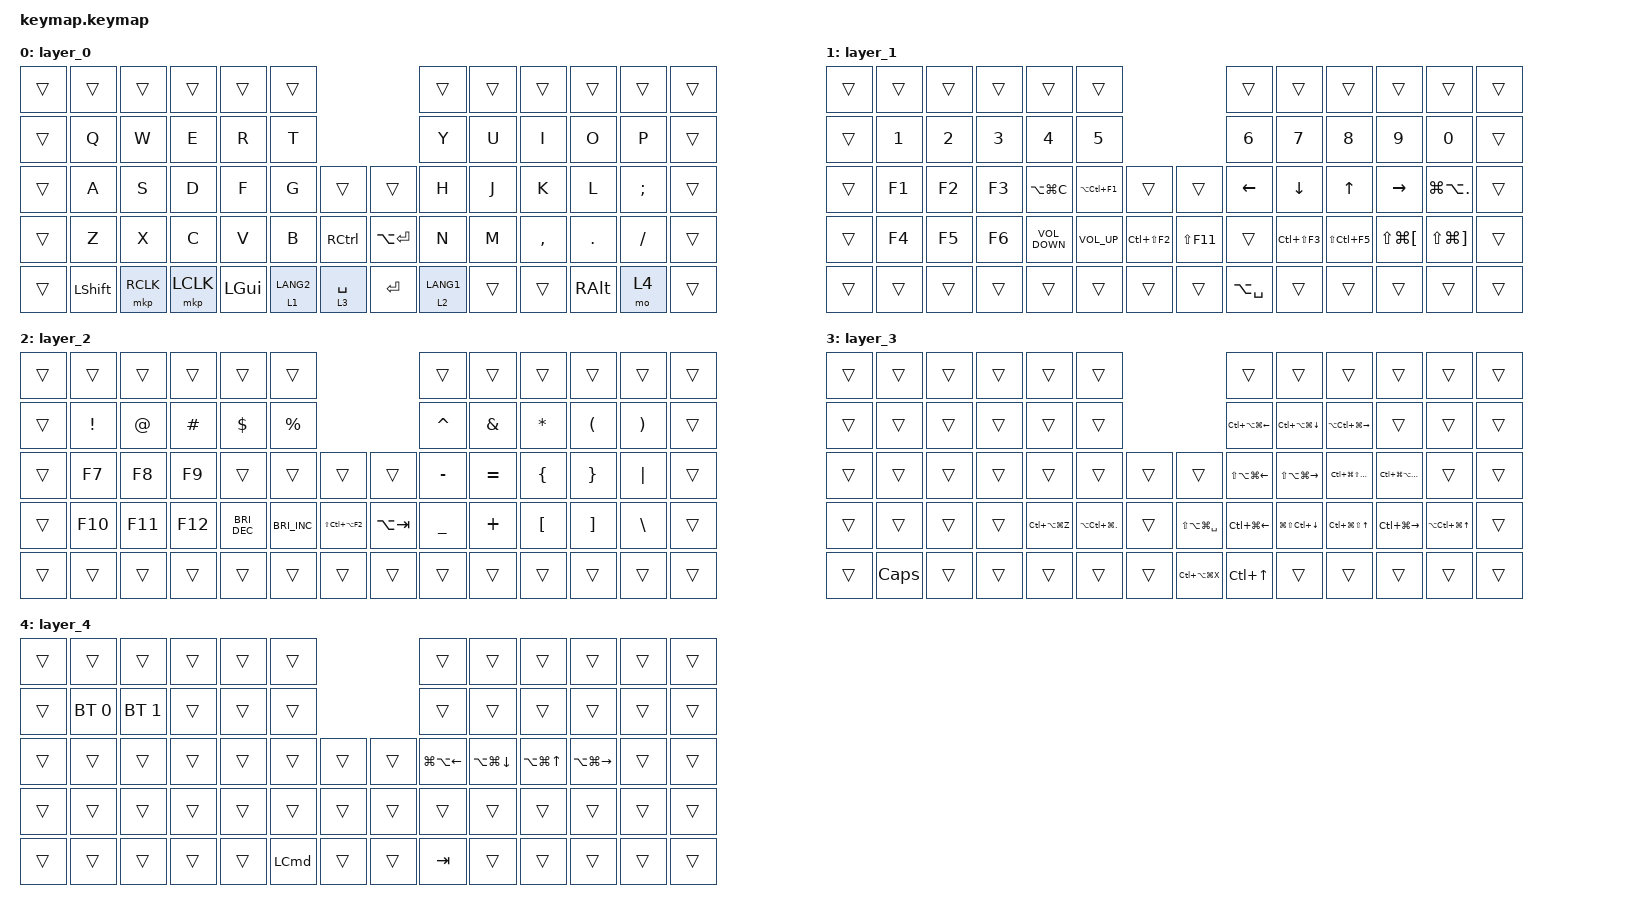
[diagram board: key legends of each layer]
#include <behaviors.dtsi>
#include <dt-bindings/zmk/bt.h>
#include <dt-bindings/zmk/keys.h>
#include <dt-bindings/zmk/pointing.h>

/ {
    combos {
        compatible = "zmk,combos";

        singleQu {
            bindings = <&kp APOSTROPHE>;
            key-positions = <36 35>;
            timeout-ms = <800>;
            layers = <0>;
        };

        backQu {
            bindings = <&kp GRAVE>;
            key-positions = <36 35>;
            timeout-ms = <800>;
            layers = <2>;
        };

        windowMax {
            bindings = <&kp LC(LG(UP_ARROW))>;
            key-positions = <50 49>;
            timeout-ms = <800>;
            layers = <3>;
        };

        backDel {
            bindings = <&kp BACKSPACE>;
            key-positions = <22 21>;
            timeout-ms = <800>;
            layers = <0 1 3>;
        };

        del {
            bindings = <&kp DEL>;
            key-positions = <22 21>;
            timeout-ms = <800>;
            layers = <2>;
        };

        tab {
            bindings = <&kp TAB>;
            key-positions = <13 14>;
            timeout-ms = <800>;
            layers = <0 2 3>;
        };

        esc {
            bindings = <&kp ESC>;
            key-positions = <13 14>;
            layers = <1>;
        };

        tidle {
            bindings = <&kp TILDE>;
            key-positions = <50 49>;
            timeout-ms = <800>;
            layers = <2>;
        };

        f12 {
            bindings = <&kp F12>;
            key-positions = <49 50>;
            timeout-ms = <800>;
            layers = <1>;
        };
    };

    macros {
        change_mac_layer: change_mac_layer {
            compatible = "zmk,behavior-macro";
            #binding-cells = <0>;
            bindings = <&bt BT_SEL 0 &to 0>;
            label = "CHANGE_MAC_LAYER";
        };

        change_brandear_layer: change_brandear_layer {
            compatible = "zmk,behavior-macro";
            #binding-cells = <0>;
            bindings = <&bt BT_SEL 1 &to 0>;
            label = "CHANGE_BRANDEAR_LAYER";
        };
    };

    keymap {
        compatible = "zmk,keymap";

        layer_0 {
            bindings = <
&trans  &trans          &trans     &trans     &trans        &trans                                         &trans       &trans  &trans     &trans         &trans         &trans
&trans  &kp Q           &kp W      &kp E      &kp R         &kp T                                          &kp Y        &kp U   &kp I      &kp O          &kp P          &trans
&trans  &kp A           &kp S      &kp D      &kp F         &kp G        &trans             &trans         &kp H        &kp J   &kp K      &kp L          &kp SEMICOLON  &trans
&trans  &kp Z           &kp X      &kp C      &kp V         &kp B        &kp RIGHT_CONTROL  &kp LA(ENTER)  &kp N        &kp M   &kp COMMA  &kp PERIOD     &kp SLASH      &trans
&trans  &kp LEFT_SHIFT  &mkp RCLK  &mkp LCLK  &kp LEFT_GUI  &lt 1 LANG2  &lt 3 SPACE        &kp ENTER      &lt 2 LANG1  &trans  &trans     &kp RIGHT_ALT  &mo 4          &trans
            >;
        };

        layer_1 {
            bindings = <
&trans  &trans  &trans  &trans  &trans             &trans                                       &trans          &trans          &trans          &trans                    &trans                     &trans
&trans  &kp N1  &kp N2  &kp N3  &kp N4             &kp N5                                       &kp N6          &kp N7          &kp N8          &kp N9                    &kp N0                     &trans
&trans  &kp F1  &kp F2  &kp F3  &kp LA(LG(C))      &kp LA(LC(F1))  &trans          &trans       &kp LEFT_ARROW  &kp DOWN_ARROW  &kp UP_ARROW    &kp RIGHT_ARROW           &kp LG(LA(PERIOD))         &trans
&trans  &kp F4  &kp F5  &kp F6  &kp C_VOLUME_DOWN  &kp C_VOL_UP    &kp LC(LS(F2))  &kp LS(F11)  &trans          &kp LC(LS(F3))  &kp LS(LC(F5))  &kp LS(LG(LEFT_BRACKET))  &kp LS(LG(RIGHT_BRACKET))  &trans
&trans  &trans  &trans  &trans  &trans             &trans          &trans          &trans       &kp LA(SPACE)   &trans          &trans          &trans                    &trans                     &trans
            >;
        };

        layer_2 {
            bindings = <
&trans  &trans           &trans       &trans     &trans                &trans                                                 &trans     &trans         &trans            &trans                &trans                 &trans
&trans  &kp EXCLAMATION  &kp AT_SIGN  &kp POUND  &kp DOLLAR            &kp PERCENT                                            &kp CARET  &kp AMPERSAND  &kp ASTRK         &kp LEFT_PARENTHESIS  &kp RIGHT_PARENTHESIS  &trans
&trans  &kp F7           &kp F8       &kp F9     &trans                &trans                &trans              &trans       &kp MINUS  &kp EQUAL      &kp LEFT_BRACE    &kp RIGHT_BRACE       &kp PIPE               &trans
&trans  &kp F10          &kp F11      &kp F12    &kp C_BRIGHTNESS_DEC  &kp C_BRIGHTNESS_INC  &kp LS(LC(LA(F2)))  &kp LA(TAB)  &kp UNDER  &kp PLUS       &kp LEFT_BRACKET  &kp RIGHT_BRACKET     &kp BACKSLASH          &trans
&trans  &trans           &trans       &trans     &trans                &trans                &trans              &trans       &trans     &trans         &trans            &trans                &trans                 &trans
            >;
        };

        layer_3 {
            bindings = <
&trans  &trans    &trans  &trans  &trans             &trans                                                 &trans                      &trans                       &trans                          &trans                           &trans                    &trans
&trans  &trans    &trans  &trans  &trans             &trans                                                 &kp LC(LA(LG(LEFT_ARROW)))  &kp LC(LA(LG(DOWN_ARROW)))   &kp LA(LC(LG(RIGHT_ARROW)))     &trans                           &trans                    &trans
&trans  &trans    &trans  &trans  &trans             &trans                  &trans  &trans                 &kp LS(LA(LG(LEFT)))        &kp LS(LA(LG(RIGHT_ARROW)))  &kp LC(LG(LS(LA(LEFT_ARROW))))  &kp LC(LG(LA(LS(RIGHT_ARROW))))  &trans                    &trans
&trans  &trans    &trans  &trans  &kp LC(LA(LG(Z)))  &kp LA(LC(LG(PERIOD)))  &trans  &kp LS(LA(LG(SPACE)))  &kp LC(LG(LEFT_ARROW))      &kp LG(LS(LC(DOWN_ARROW)))   &kp LC(LG(LS(UP_ARROW)))        &kp LC(LG(RIGHT_ARROW))          &kp LA(LC(LG(UP_ARROW)))  &trans
&trans  &kp CAPS  &trans  &trans  &trans             &trans                  &trans  &kp LC(LA(LG(X)))      &kp LC(UP_ARROW)            &trans                       &trans                          &trans                           &trans                    &trans
            >;
        };

        layer_4 {
            bindings = <
&trans  &trans        &trans        &trans  &trans  &trans                            &trans                  &trans            &trans                &trans             &trans  &trans
&trans  &bt BT_SEL 0  &bt BT_SEL 1  &trans  &trans  &trans                            &trans                  &trans            &trans                &trans             &trans  &trans
&trans  &trans        &trans        &trans  &trans  &trans            &trans  &trans  &kp LG(LA(LEFT_ARROW))  &kp LA(LG(DOWN))  &kp LA(LG(UP_ARROW))  &kp LA(LG(RIGHT))  &trans  &trans
&trans  &trans        &trans        &trans  &trans  &trans            &trans  &trans  &trans                  &trans            &trans                &trans             &trans  &trans
&trans  &trans        &trans        &trans  &trans  &kp LEFT_COMMAND  &trans  &trans  &kp TAB                 &trans            &trans                &trans             &trans  &trans
            >;
        };
    };
};
